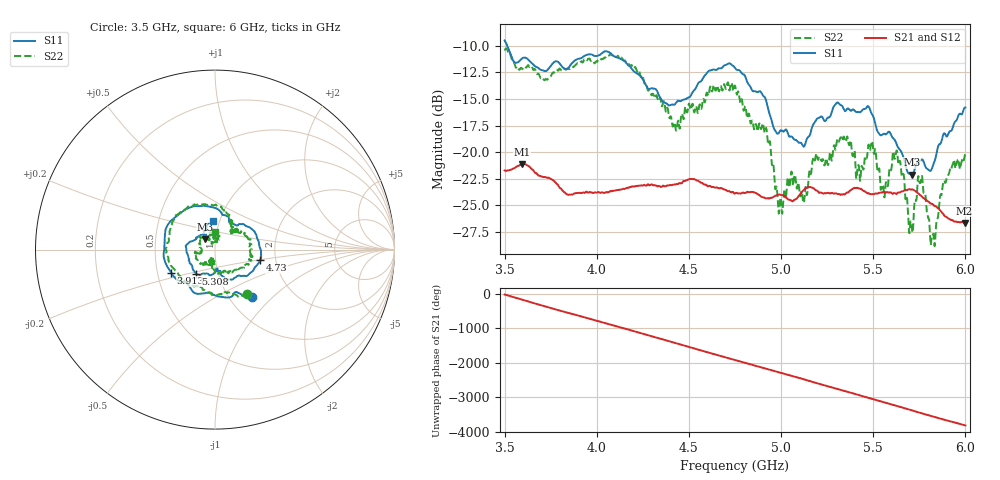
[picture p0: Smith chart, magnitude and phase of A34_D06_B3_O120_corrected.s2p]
! Created with skrf 1.9.0 (http://scikit-rf.org).
# Hz S RI R 50.0
!freq ReS11 ImS11 ReS21 ImS21 ReS12 ImS12 ReS22 ImS22
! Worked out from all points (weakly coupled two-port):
!   1601 points, 3.5 GHz to 6 GHz, reference 50 ohm
!   highest |S21| = -21.10 dB at 3.594 GHz (marker M1); lowest = -26.6 dB at 5.995 GHz (marker M2)
!   lowest |S11| = -22.1 dB at 5.709 GHz (marker M3), VSWR 1.17, Z = 44.7 + j5.19 ohm
!   |S11| at or under -10 dB: 3.514 GHz to end of sweep
!   |S22| runs from -28.8 to -10.3 dB; largest |S21 - S12| = 0.001
!   S11 on the Smith chart (normalised r, x): 3.5 GHz: 1.28, -0.75; 3.913 GHz: 0.59, -0.16; 4.73 GHz: 1.66, -0.21; 5.308 GHz: 0.78, -0.22; 6 GHz: 0.93, +0.31
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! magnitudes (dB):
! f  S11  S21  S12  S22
! 3.5 GHz  -9.5  -21.7  -21.7  -10.3
! 3.594 GHz  -11.2  -21.1  -21.1  -12.2
! 3.913 GHz  -11.2  -23.8  -23.8  -11.5
! 3.917 GHz  -11.1  -23.8  -23.8  -11.5
! 4.125 GHz  -11.2  -23.5  -23.5  -11.3
! 4.334 GHz  -14.5  -23.2  -23.1  -15.2
! 4.439 GHz  -15.2  -23.0  -22.9  -17.2
! 4.73 GHz  -11.8  -23.8  -23.7  -13.5
! 4.75 GHz  -12.1  -23.9  -23.8  -13.8
! 4.912 GHz  -14.9  -24.3  -24.2  -18.2
! 4.997 GHz  -17.9  -24.0  -23.9  -24.3
! 5.13 GHz  -19.3  -23.4  -23.4  -23.7
! 5.167 GHz  -17.7  -23.3  -23.3  -21.3
! 5.308 GHz  -15.3  -23.9  -23.9  -18.8
! 5.584 GHz  -18.1  -23.8  -23.7  -22.2
! 5.636 GHz  -19.6  -23.8  -23.7  -21.1
! 5.709 GHz  -22.1  -23.5  -23.4  -27.1
! 5.755 GHz  -20.8  -24.0  -24.0  -22.9
! 5.823 GHz  -21.3  -24.9  -24.8  -27.7
! 5.888 GHz  -18.2  -26.0  -25.9  -22.8
! 5.995 GHz  -15.8  -26.6  -26.5  -20.4
! 6 GHz  -15.8  -26.6  -26.5  -20.0
